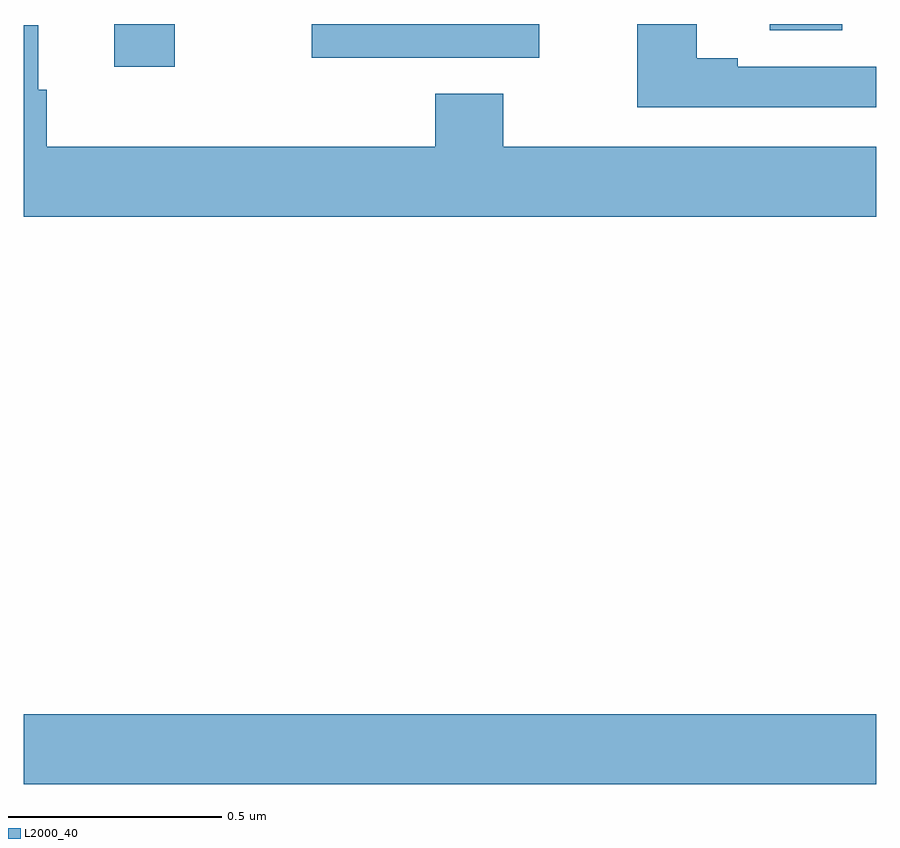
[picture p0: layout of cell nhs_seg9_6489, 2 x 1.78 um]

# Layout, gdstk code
import gdstk
lib = gdstk.Library(unit=1e-6, precision=1e-09)
def R(c, l, rs):  # rectangles x0, y0, x1, y1
    for r in rs: c.add(gdstk.rectangle(r[:2], r[2:], *l))
def P(c, l, *ps):  # polygons
    for p in ps: c.add(gdstk.Polygon(p, *l))
L2000_40 = (2000, 40)

nhs_seg9_6489 = lib.new_cell('nhs_seg9_6489')
R(nhs_seg9_6489, L2000_40, [(192,1233.716,194,1233.88), (192.212,1235.4,192.354,1235.5), (192.675,1235.421,193.209,1235.5), (193.751,1235.485,193.921,1235.5)])
P(nhs_seg9_6489, L2000_40, [(194,1235.4),(193.675,1235.4),(193.675,1235.42),(193.579,1235.42),(193.579,1235.5),(193.439,1235.5),(193.439,1235.304),(194,1235.304)],
  [(192.034,1235.346),(192.034,1235.497),(192,1235.497),(192,1235.048),(194,1235.048),(194,1235.212),(193.125,1235.212),(193.125,1235.336),(192.965,1235.336),(192.965,1235.212),(192.053,1235.212),(192.053,1235.346)])

lib.write_gds('nhs_seg9_6489.gds')
